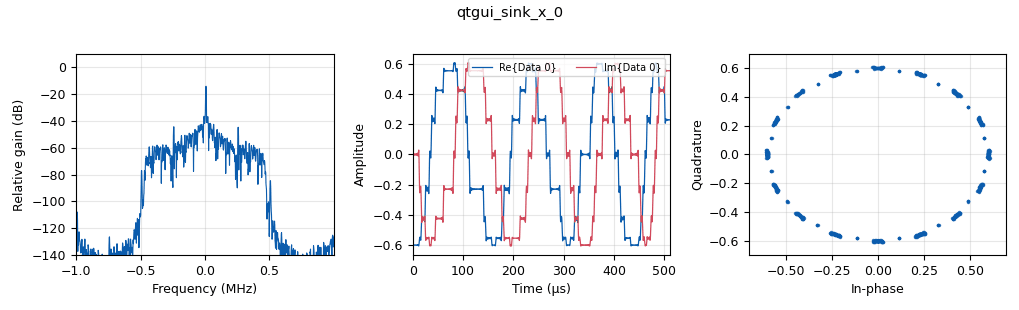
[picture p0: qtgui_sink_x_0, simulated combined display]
<?xml version='1.0' encoding='utf-8'?>
<?grc format='1' created='3.7.13'?>
<flow_graph>
<block>
<key>options</key>
<param><key>id</key><value>top_block</value></param>
<param><key>generate_options</key><value>qt_gui</value></param>
</block>
<block>
<key>variable</key>
<param><key>id</key><value>samp_rate</value></param>
<param><key>value</key><value>2e6</value></param>
</block>
<block>
<key>analog_random_source_x</key>
<param><key>id</key><value>analog_random_source_x_0</value></param>
<param><key>max</key><value>2</value></param>
<param><key>min</key><value>0</value></param>
<param><key>num_samps</key><value>2048</value></param>
<param><key>type</key><value>byte</value></param>
<param><key>repeat</key><value>True</value></param>
</block>
<block>
<key>blocks_file_sink</key>
<param><key>id</key><value>blocks_file_sink_0</value></param>
<param><key>_enabled</key><value>0</value></param>
<param><key>file</key><value>/Users/aniqua/Aniqua/Policy enforcement/Experiment/File_utils/psk.complex</value></param>
<param><key>type</key><value>complex</value></param>
</block>
<block>
<key>blocks_multiply_const_vxx</key>
<param><key>id</key><value>blocks_multiply_const_vxx_0</value></param>
<param><key>const</key><value>0.6</value></param>
<param><key>type</key><value>complex</value></param>
</block>
<block>
<key>digital_psk_mod</key>
<param><key>id</key><value>digital_psk_mod_0</value></param>
<param><key>differential</key><value>True</value></param>
<param><key>excess_bw</key><value>0.9</value></param>
<param><key>mod_code</key><value>"gray"</value></param>
<param><key>constellation_points</key><value>16</value></param>
<param><key>samples_per_symbol</key><value>4</value></param>
</block>
<block>
<key>qtgui_sink_x</key>
<param><key>id</key><value>qtgui_sink_x_0</value></param>
<param><key>bw</key><value>samp_rate</value></param>
<param><key>fc</key><value>0</value></param>
<param><key>freqchangevar</key><value>None</value></param>
<param><key>fftsize</key><value>1024</value></param>
<param><key>showports</key><value>True</value></param>
<param><key>type</key><value>complex</value></param>
<param><key>wintype</key><value>firdes.WIN_BLACKMAN_hARRIS</value></param>
</block>
<connection><source_block_id>analog_random_source_x_0</source_block_id><sink_block_id>digital_psk_mod_0</sink_block_id><source_key>0</source_key><sink_key>0</sink_key></connection>
<connection><source_block_id>blocks_multiply_const_vxx_0</source_block_id><sink_block_id>blocks_file_sink_0</sink_block_id><source_key>0</source_key><sink_key>0</sink_key></connection>
<connection><source_block_id>blocks_multiply_const_vxx_0</source_block_id><sink_block_id>qtgui_sink_x_0</sink_block_id><source_key>0</source_key><sink_key>0</sink_key></connection>
<connection><source_block_id>digital_psk_mod_0</source_block_id><sink_block_id>blocks_multiply_const_vxx_0</sink_block_id><source_key>0</source_key><sink_key>0</sink_key></connection>
</flow_graph>
